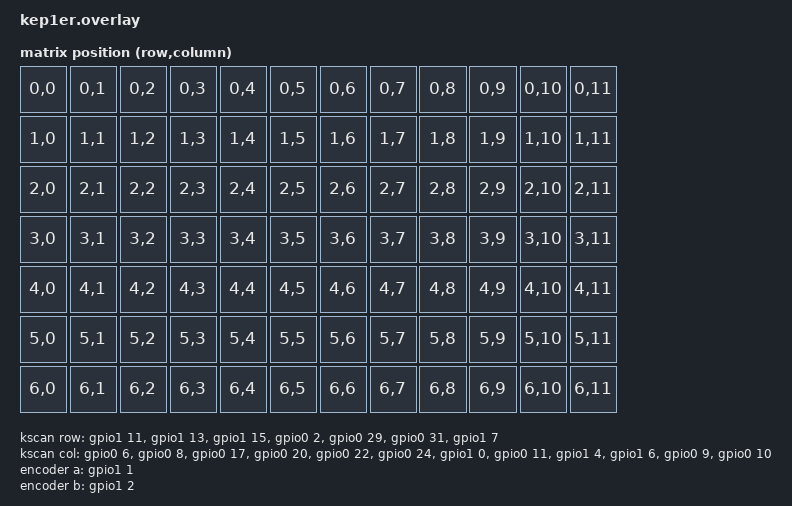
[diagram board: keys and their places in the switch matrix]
/* Keycool 84 (Kepler) on nice!nano, pins taken from the KiCad PCB. */

#include <dt-bindings/zmk/matrix_transform.h>
#include "kep1er-layouts.dtsi"

/ {
    chosen {
        zmk,kscan = &kscan;
        zmk,physical-layout = &default_layout;
    };

    kscan: kscan {
        compatible = "zmk,kscan-gpio-matrix";
        diode-direction = "col2row";
        wakeup-source;

        col-gpios
            = <&gpio0 6 GPIO_ACTIVE_HIGH>   /* col0  TX0/P0.06 */
            , <&gpio0 8 GPIO_ACTIVE_HIGH>   /* col1  RX1/P0.08 */
            , <&gpio0 17 GPIO_ACTIVE_HIGH>   /* col2  P0.17 */
            , <&gpio0 20 GPIO_ACTIVE_HIGH>   /* col3  P0.20 */
            , <&gpio0 22 GPIO_ACTIVE_HIGH>   /* col4  P0.22 */
            , <&gpio0 24 GPIO_ACTIVE_HIGH>   /* col5  P0.24 */
            , <&gpio1 0 GPIO_ACTIVE_HIGH>   /* col6  P1.00 */
            , <&gpio0 11 GPIO_ACTIVE_HIGH>   /* col7  P0.11 */
            , <&gpio1 4 GPIO_ACTIVE_HIGH>   /* col8  P1.04 */
            , <&gpio1 6 GPIO_ACTIVE_HIGH>   /* col9  P1.06 */
            , <&gpio0 9 GPIO_ACTIVE_HIGH>   /* col10  NFC1/P0.09 */
            , <&gpio0 10 GPIO_ACTIVE_HIGH>   /* col11  NFC2/P0.10 */
            ;

        row-gpios
            = <&gpio1 11 (GPIO_ACTIVE_HIGH | GPIO_PULL_DOWN)>   /* row0  P1.11 */
            , <&gpio1 13 (GPIO_ACTIVE_HIGH | GPIO_PULL_DOWN)>   /* row1  P1.13 */
            , <&gpio1 15 (GPIO_ACTIVE_HIGH | GPIO_PULL_DOWN)>   /* row2  P1.15 */
            , <&gpio0 2 (GPIO_ACTIVE_HIGH | GPIO_PULL_DOWN)>   /* row3  P0.02 */
            , <&gpio0 29 (GPIO_ACTIVE_HIGH | GPIO_PULL_DOWN)>   /* row4  P0.29 */
            , <&gpio0 31 (GPIO_ACTIVE_HIGH | GPIO_PULL_DOWN)>   /* row5  P0.31 */
            , <&gpio1 7 (GPIO_ACTIVE_HIGH | GPIO_PULL_DOWN)>   /* row6  P1.07 (extra pad) */
            ;
    };

    default_transform: default_transform {
        compatible = "zmk,matrix-transform";
        columns = <12>;
        rows = <7>;

        map = <
            RC(0,0) RC(0,1) RC(0,2) RC(0,3) RC(0,4) RC(0,5) RC(0,6) RC(0,7) RC(0,8) RC(0,9) RC(0,10) RC(0,11)
            RC(1,0) RC(1,1) RC(1,2) RC(1,3) RC(1,4) RC(1,5) RC(1,6) RC(1,7) RC(1,8) RC(1,9) RC(1,10) RC(1,11)
            RC(2,0) RC(2,1) RC(2,2) RC(2,3) RC(2,4) RC(2,5) RC(2,6) RC(2,7) RC(2,8) RC(2,9) RC(2,10) RC(2,11)
            RC(3,0) RC(3,1) RC(3,2) RC(3,3) RC(3,4) RC(3,5) RC(3,6) RC(3,7) RC(3,8) RC(3,9) RC(3,10) RC(3,11)
            RC(4,0) RC(4,1) RC(4,2) RC(4,3) RC(4,4) RC(4,5) RC(4,6) RC(4,7) RC(4,8) RC(4,9) RC(4,10) RC(4,11)
            RC(5,0) RC(5,1) RC(5,2) RC(5,3) RC(5,4) RC(5,5) RC(5,6) RC(5,7) RC(5,8) RC(5,9) RC(5,10) RC(5,11)
            RC(6,0) RC(6,1) RC(6,2) RC(6,3) RC(6,4) RC(6,5) RC(6,6) RC(6,7) RC(6,8) RC(6,9) RC(6,10) RC(6,11)
        >;
    };

    /* Rotary encoder: A = P1.01, B = P1.02, common (C) goes to GND on the PCB. */
    encoder: encoder {
        compatible = "alps,ec11";
        a-gpios = <&gpio1 1 (GPIO_PULL_UP | GPIO_ACTIVE_LOW)>;
        b-gpios = <&gpio1 2 (GPIO_PULL_UP | GPIO_ACTIVE_LOW)>;
        steps = <80>;
        status = "okay";
    };

    sensors: sensors {
        compatible = "zmk,keymap-sensors";
        sensors = <&encoder>;
        triggers-per-rotation = <20>;
    };
};
